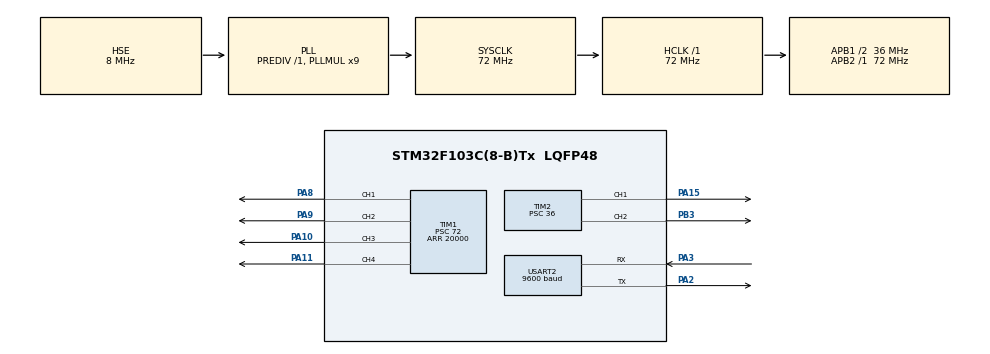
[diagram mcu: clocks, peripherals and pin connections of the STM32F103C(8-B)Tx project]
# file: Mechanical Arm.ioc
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Dma.Request0=USART2_RX
Dma.USART2_RX.0.Direction=DMA_PERIPH_TO_MEMORY
Dma.USART2_RX.0.Instance=DMA1_Channel6
Dma.USART2_RX.0.MemDataAlignment=DMA_MDATAALIGN_BYTE
Dma.USART2_RX.0.MemInc=DMA_MINC_ENABLE
Dma.USART2_RX.0.Mode=DMA_NORMAL
Dma.USART2_RX.0.PeriphDataAlignment=DMA_PDATAALIGN_BYTE
Dma.USART2_RX.0.PeriphInc=DMA_PINC_DISABLE
Dma.USART2_RX.0.Priority=DMA_PRIORITY_LOW
Mcu.Family=STM32F1
Mcu.Name=STM32F103C(8-B)Tx
Mcu.Package=LQFP48
NVIC.DMA1_Channel6_IRQn=true\:0\:0\:false\:false\:true\:false
NVIC.PriorityGroup=NVIC_PRIORITYGROUP_4
NVIC.USART2_IRQn=true\:0\:0\:false\:false\:true\:true
PA10.Signal=S_TIM1_CH3
PA11.Signal=S_TIM1_CH4
PA15.Signal=S_TIM2_CH1_ETR
PA2.Mode=Asynchronous
PA2.Signal=USART2_TX
PA3.Mode=Asynchronous
PA3.Signal=USART2_RX
PA8.Signal=S_TIM1_CH1
PA9.Signal=S_TIM1_CH2
PB3.Signal=S_TIM2_CH2
PD0-OSC_IN.Mode=HSE-External-Oscillator
PD0-OSC_IN.Signal=RCC_OSC_IN
PD1-OSC_OUT.Mode=HSE-External-Oscillator
PD1-OSC_OUT.Signal=RCC_OSC_OUT
ProjectManager.HeapSize=0x200
ProjectManager.StackSize=0x400
ProjectManager.TargetToolchain=MDK-ARM V5
RCC.AHBFreq_Value=72000000
RCC.APB1CLKDivider=RCC_HCLK_DIV2
RCC.APB1Freq_Value=36000000
RCC.APB1TimFreq_Value=72000000
RCC.APB2Freq_Value=72000000
RCC.APB2TimFreq_Value=72000000
RCC.HCLKFreq_Value=72000000
RCC.PLLMUL=RCC_PLL_MUL9
RCC.PLLSourceVirtual=RCC_PLLSOURCE_HSE
RCC.SYSCLKFreq_VALUE=72000000
RCC.SYSCLKSource=RCC_SYSCLKSOURCE_PLLCLK
RCC.USBFreq_Value=72000000
SH.S_TIM1_CH1.0=TIM1_CH1,PWM Generation1 CH1
SH.S_TIM1_CH2.0=TIM1_CH2,PWM Generation2 CH2
SH.S_TIM1_CH3.0=TIM1_CH3,Output Compare3 CH3
SH.S_TIM1_CH4.0=TIM1_CH4,Output Compare4 CH4
SH.S_TIM2_CH1_ETR.0=TIM2_CH1,PWM Generation1 CH1
SH.S_TIM2_CH2.0=TIM2_CH2,PWM Generation2 CH2
TIM1.Channel-Output\ Compare3\ CH3=TIM_CHANNEL_3
TIM1.Channel-Output\ Compare4\ CH4=TIM_CHANNEL_4
TIM1.Channel-PWM\ Generation1\ CH1=TIM_CHANNEL_1
TIM1.Channel-PWM\ Generation2\ CH2=TIM_CHANNEL_2
TIM1.Period=20000
TIM1.Prescaler=72
TIM2.Channel-PWM\ Generation1\ CH1=TIM_CHANNEL_1
TIM2.Channel-PWM\ Generation2\ CH2=TIM_CHANNEL_2
TIM2.Period=20000
TIM2.Prescaler=36
USART2.BaudRate=9600
USART2.Mode=MODE_RX
USART2.VirtualMode=VM_ASYNC
VP_SYS_VS_ND.Mode=No_Debug
VP_TIM1_VS_ClockSourceINT.Mode=Internal
VP_TIM2_VS_ClockSourceINT.Mode=Internal
board=custom

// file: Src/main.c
/**
  ******************************************************************************
  * @file           : main.c
  * @brief          : Main program body
  ******************************************************************************
  ** This notice applies to any and all portions of this file
  * that are not between comment pairs USER CODE BEGIN and
  * USER CODE END. Other portions of this file, whether
  * inserted by the user or by software development tools
  * are owned by their respective copyright owners.
  *
  * COPYRIGHT(c) 2020 STMicroelectronics
  *
  * Redistribution and use in source and binary forms, with or without modification,
  * are permitted provided that the following conditions are met:
  *   1. Redistributions of source code must retain the above copyright notice,
  *      this list of conditions and the following disclaimer.
  *   2. Redistributions in binary form must reproduce the above copyright notice,
  *      this list of conditions and the following disclaimer in the documentation
  *      and/or other materials provided with the distribution.
  *   3. Neither the name of STMicroelectronics nor the names of its contributors
  *      may be used to endorse or promote products derived from this software
  *      without specific prior written permission.
  *
  * THIS SOFTWARE IS PROVIDED BY THE COPYRIGHT HOLDERS AND CONTRIBUTORS "AS IS"
  * AND ANY EXPRESS OR IMPLIED WARRANTIES, INCLUDING, BUT NOT LIMITED TO, THE
  * IMPLIED WARRANTIES OF MERCHANTABILITY AND FITNESS FOR A PARTICULAR PURPOSE ARE
  * DISCLAIMED. IN NO EVENT SHALL THE COPYRIGHT HOLDER OR CONTRIBUTORS BE LIABLE
  * FOR ANY DIRECT, INDIRECT, INCIDENTAL, SPECIAL, EXEMPLARY, OR CONSEQUENTIAL
  * DAMAGES (INCLUDING, BUT NOT LIMITED TO, PROCUREMENT OF SUBSTITUTE GOODS OR
  * SERVICES; LOSS OF USE, DATA, OR PROFITS; OR BUSINESS INTERRUPTION) HOWEVER
  * CAUSED AND ON ANY THEORY OF LIABILITY, WHETHER IN CONTRACT, STRICT LIABILITY,
  * OR TORT (INCLUDING NEGLIGENCE OR OTHERWISE) ARISING IN ANY WAY OUT OF THE USE
  * OF THIS SOFTWARE, EVEN IF ADVISED OF THE POSSIBILITY OF SUCH DAMAGE.
  *
  ******************************************************************************
  */
#include "main.h"
#include "stm32f1xx_hal.h"
#include "dma.h"
#include "tim.h"
#include "usart.h"
#include "gpio.h"

/* USER CODE BEGIN PV */
/* Private variables ---------------------------------------------------------*/

/* USER CODE END PV */

void SystemClock_Config(void);

/* USER CODE BEGIN PFP */
/* Private function prototypes -----------------------------------------------*/

/* USER CODE END PFP */

int main(void)
{

  /* MCU Configuration----------------------------------------------------------*/

  /* Reset of all peripherals, Initializes the Flash interface and the Systick. */
  HAL_Init();

  /* Configure the system clock */
  SystemClock_Config();

  /* Initialize all configured peripherals */
  MX_GPIO_Init();
  MX_DMA_Init();
  MX_TIM1_Init();
  MX_TIM2_Init();
  MX_USART2_UART_Init();
  /* USER CODE BEGIN 2 */
  PWM_Start();
  /* USER CODE END 2 */

  /* Infinite loop */
  while (1)
  {

  }

}

void SystemClock_Config(void)
{

  RCC_OscInitTypeDef RCC_OscInitStruct;
  RCC_ClkInitTypeDef RCC_ClkInitStruct;

    /**Initializes the CPU, AHB and APB busses clocks
    */
  RCC_OscInitStruct.OscillatorType = RCC_OSCILLATORTYPE_HSE;
  RCC_OscInitStruct.HSEState = RCC_HSE_ON;
  RCC_OscInitStruct.HSEPredivValue = RCC_HSE_PREDIV_DIV1;
  RCC_OscInitStruct.HSIState = RCC_HSI_ON;
  RCC_OscInitStruct.PLL.PLLState = RCC_PLL_ON;
  RCC_OscInitStruct.PLL.PLLSource = RCC_PLLSOURCE_HSE;
  RCC_OscInitStruct.PLL.PLLMUL = RCC_PLL_MUL9;
  if (HAL_RCC_OscConfig(&RCC_OscInitStruct) != HAL_OK)
  {
    _Error_Handler(__FILE__, __LINE__);
  }

    /**Initializes the CPU, AHB and APB busses clocks
    */
  RCC_ClkInitStruct.ClockType = RCC_CLOCKTYPE_HCLK|RCC_CLOCKTYPE_SYSCLK
                              |RCC_CLOCKTYPE_PCLK1|RCC_CLOCKTYPE_PCLK2;
  RCC_ClkInitStruct.SYSCLKSource = RCC_SYSCLKSOURCE_PLLCLK;
  RCC_ClkInitStruct.AHBCLKDivider = RCC_SYSCLK_DIV1;
  RCC_ClkInitStruct.APB1CLKDivider = RCC_HCLK_DIV2;
  RCC_ClkInitStruct.APB2CLKDivider = RCC_HCLK_DIV1;

  if (HAL_RCC_ClockConfig(&RCC_ClkInitStruct, FLASH_LATENCY_2) != HAL_OK)
  {
    _Error_Handler(__FILE__, __LINE__);
  }

    /**Configure the Systick interrupt time
    */
  HAL_SYSTICK_Config(HAL_RCC_GetHCLKFreq()/1000);

    /**Configure the Systick
    */
  HAL_SYSTICK_CLKSourceConfig(SYSTICK_CLKSOURCE_HCLK);

  /* SysTick_IRQn interrupt configuration */
  HAL_NVIC_SetPriority(SysTick_IRQn, 0, 0);
}

/* USER CODE BEGIN 4 */

void RemoteDataPrcess(uint8_t* pData)
{
	if(pData == NULL)
    {
        return;
    }

	if(pData[0]==0)
	{
		TIM1->CCR1=(150 + 200*((int16_t)pData[1] | (int16_t)pData[1])/270);
	}

	if(pData[0]==1)
	{
		TIM1->CCR2=0;
	}

	if(pData[0]==2)
	{
		TIM1->CCR3=0;
	}

	if(pData[0]==3)
	{
		TIM1->CCR4=0;
	}

	if(pData[0]==4)
	{
		TIM2->CCR1=0;
	}

	if(pData[0]==5)
	{
		TIM2->CCR2=0;
	}

}

/* USER CODE END 4 */

void _Error_Handler(char *file, int line)
{
  while(1)
  {
  }
}

/************************ (C) COPYRIGHT STMicroelectronics *****END OF FILE****/
